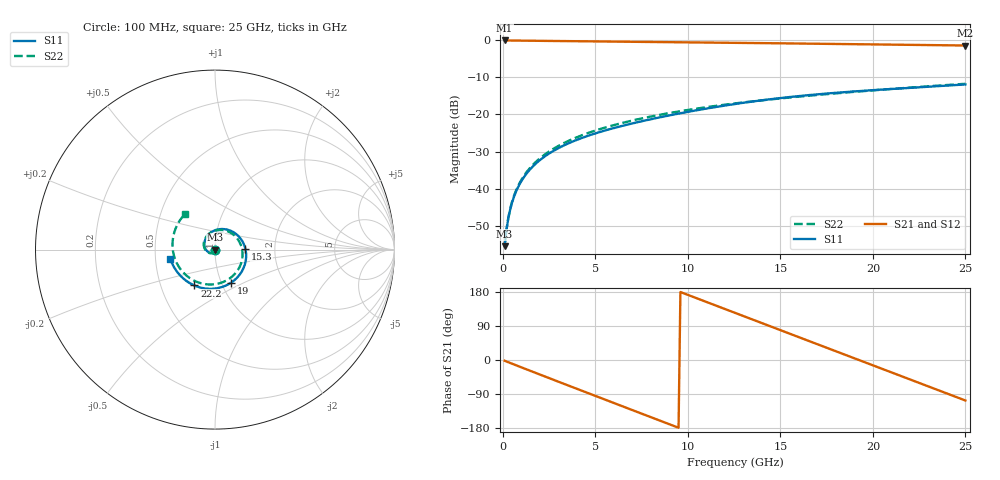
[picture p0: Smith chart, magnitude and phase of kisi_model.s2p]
! kisi X_s8x4_L1L3_bd_d200: fast channel model (formula impedances, via model), up to 25 GHz
# Hz S RI R 50
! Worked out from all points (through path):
!   250 points, 100 MHz to 25 GHz, reference 50 ohm
!   highest |S21| = -0.02 dB at 100 MHz (marker M1); lowest = -1.4 dB at 25 GHz (marker M2)
!   group delay of S21, straight-line fit = 51.8 ps
!   lowest |S11| = -55.5 dB at 100 MHz (marker M3), VSWR 1.00, Z = 50.1 - j0.129 ohm
!   |S11| at or under -10 dB: start of sweep to end of sweep
!   |S22| runs from -55.4 to -11.7 dB; largest |S21 - S12| = 0
!   S11 on the Smith chart (normalised r, x): 100 MHz: 1.00, -0.00; 15.3 GHz: 1.41, +0.01; 19 GHz: 1.11, -0.43; 22.2 GHz: 0.74, -0.31; 25 GHz: 0.60, -0.06
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1e8  0.00107 -0.00128  0.9976 -0.0347  0.9976 -0.0347  0.00108 -0.0013
3e8  0.000712 -0.0039  0.9915 -0.1022  0.9915 -0.1022  0.000763 -0.00398
5e8  -9.5e-05 -0.00644  0.9811 -0.1683  0.9811 -0.1683  3.42e-06 -0.00661
1.2e9  -0.00569 -0.0138  0.9116 -0.3889  0.9116 -0.3889  -0.00555 -0.0146
2.8e9  -0.0277 -0.0179  0.5859 -0.7879  0.5859 -0.7879  -0.0291 -0.0198
4.3e9  -0.0484 -0.00366  0.1429 -0.9631  0.1429 -0.9631  -0.0526 -0.00366
6.2e9  -0.0591 0.0328  -0.4397 -0.8574  -0.4397 -0.8574  -0.0619 0.0408
7.4e9  -0.0524 0.0604  -0.7287 -0.6206  -0.7287 -0.6206  -0.0477 0.0732
8.4e9  -0.0377 0.0824  -0.8841 -0.3526  -0.8841 -0.3526  -0.0228 0.0955
9.4e9  -0.0149 0.1006  -0.945 -0.0509  -0.945 -0.0509  0.0119 0.1082
1.04e10  0.0152 0.1121  -0.9063 0.2525  -0.9063 0.2525  0.0525 0.1072
1.14e10  0.0508 0.1141  -0.7733 0.5256  -0.7733 0.5256  0.0934 0.0899
1.26e10  0.0962 0.1006  -0.5115 0.7743  -0.5115 0.7743  0.1333 0.0479
1.4e10  0.1433 0.0603  -0.1185 0.9119  -0.1185 0.9119  0.1536 -0.0233
1.53e10  0.1698 0.00211  0.2628 0.8729  0.2628 0.8729  0.1371 -0.0965
1.67e10  0.1689 -0.0733  0.613 0.663  0.613 0.663  0.0798 -0.1622
1.79e10  0.1396 -0.1366  0.8119 0.3782  0.8119 0.3782  0.00568 -0.1918
1.9e10  0.0909 -0.1835  0.8862 0.0709  0.8862 0.0709  -0.0715 -0.1892
2.09e10  -0.0269 -0.2185  0.7549 -0.4479  0.7549 -0.4479  -0.1889 -0.1133
2.22e10  -0.1146 -0.2  0.5014 -0.7112  0.5014 -0.7112  -0.2319 -0.0202
2.36e10  -0.1964 -0.1414  0.1373 -0.8509  0.1373 -0.8509  -0.2272 0.0951
2.5e10  -0.2493 -0.0505  -0.2477 -0.8166  -0.2477 -0.8166  -0.1663 0.1993
